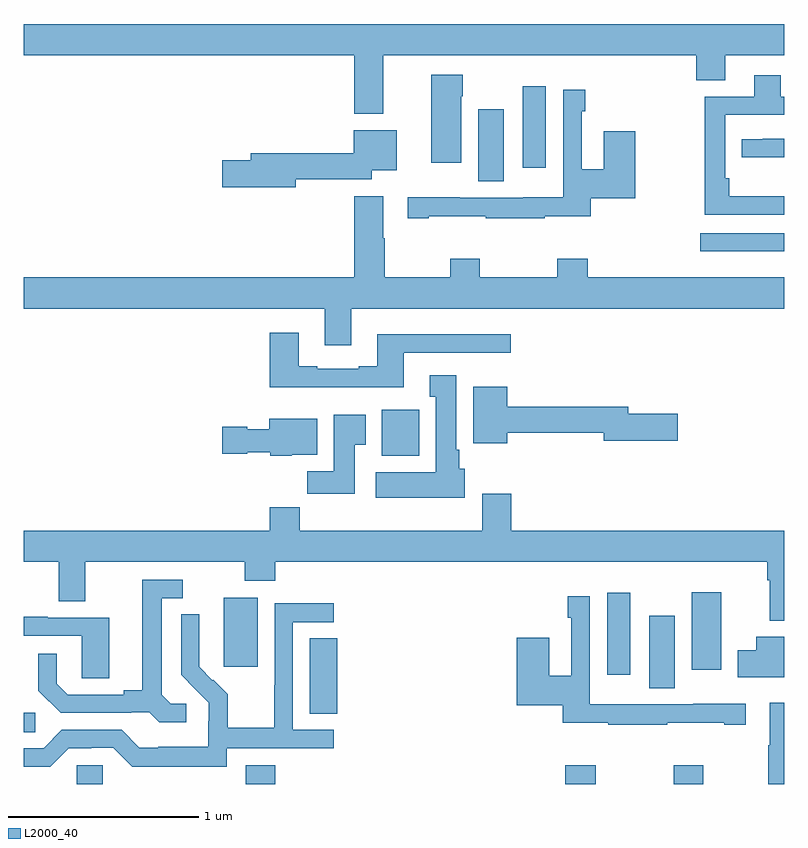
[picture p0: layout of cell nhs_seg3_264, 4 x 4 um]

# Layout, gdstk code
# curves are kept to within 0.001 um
import gdstk
lib = gdstk.Library(unit=1e-6, precision=1e-09)
def R(c, l, rs):  # rectangles x0, y0, x1, y1
    for r in rs: c.add(gdstk.rectangle(r[:2], r[2:], *l))
def P(c, l, *ps):  # polygons
    for p in ps: c.add(gdstk.Polygon(p, *l))
L2000_40 = (2000, 40)

nhs_seg3_264 = lib.new_cell('nhs_seg3_264')
R(nhs_seg3_264, L2000_40, [(123.279,714.4,123.417,714.498), (124.169,714.4,124.322,714.499), (125.849,714.4,126.009,714.499), (126.418,714.4,126.573,714.499), (123,714.673,123.061,714.774), (124.505,714.769,124.649,715.166), (126.29,714.904,126.424,715.285), (126.068,714.975,126.19,715.405), (126.512,715.002,126.667,715.408), (124.052,715.017,124.231,715.378), (124.883,716.126,125.08,716.368), (126.558,717.2,127,717.297), (125.39,717.568,125.524,717.949), (125.624,717.639,125.746,718.069)])
P(nhs_seg3_264, L2000_40, [(124.891,718.232),(126.536,718.232),(126.536,718.099),(126.688,718.099),(126.688,718.232),(127,718.232),(127,718.396),(123,718.396),(123,718.232),(124.739,718.232),(124.739,717.923),(124.891,717.923)],
  [(125.302,718.016),(125.31,718.016),(125.31,718.129),(125.144,718.129),(125.144,717.666),(125.302,717.666)],
  [(127,717.491),(126.71,717.491),(126.71,717.586),(126.69,717.586),(126.69,717.918),(127,717.918),(127,718.014),(126.982,718.014),(126.982,718.126),(126.842,718.126),(126.842,718.014),(126.582,718.014),(126.582,717.393),(127,717.393)],
  [(125.131,717.385),(125.431,717.385),(125.431,717.375),(125.741,717.375),(125.741,717.385),(125.981,717.385),(125.981,717.479),(126.216,717.479),(126.216,717.832),(126.05,717.832),(126.05,717.632),(125.934,717.632),(125.934,717.938),(125.954,717.938),(125.954,718.051),(125.838,718.051),(125.838,717.484),(125.628,717.484),(125.628,717.483),(125.294,717.483),(125.294,717.485),(125.019,717.485),(125.019,717.375),(125.131,717.375)],
  [(124.432,717.58),(124.83,717.58),(124.83,717.626),(124.963,717.626),(124.963,717.838),(124.736,717.838),(124.736,717.716),(124.193,717.716),(124.193,717.68),(124.044,717.68),(124.044,717.538),(124.432,717.538)],
  [(127,717.792),(126.886,717.792),(126.886,717.791),(126.775,717.791),(126.775,717.695),(127,717.695)],
  [(124.723,716.9),(127,716.9),(127,717.064),(125.966,717.064),(125.966,717.163),(125.806,717.163),(125.806,717.064),(125.397,717.064),(125.397,717.163),(125.242,717.163),(125.242,717.064),(124.899,717.064),(124.899,717.269),(124.891,717.269),(124.891,717.49),(124.739,717.49),(124.739,717.064),(123,717.064),(123,716.9),(124.583,716.9),(124.583,716.706),(124.723,716.706)],
  [(124.999,716.667),(125.56,716.667),(125.56,716.764),(124.859,716.764),(124.859,716.596),(124.763,716.596),(124.763,716.583),(124.543,716.583),(124.543,716.596),(124.447,716.596),(124.447,716.773),(124.295,716.773),(124.295,716.486),(124.999,716.486)],
  [(125.32,716.058),(125.29,716.058),(125.29,716.158),(125.275,716.158),(125.275,716.548),(125.135,716.548),(125.135,716.435),(125.168,716.435),(125.168,716.038),(124.851,716.038),(124.851,715.904),(125.32,715.904)],
  [(125.542,716.248),(126.05,716.248),(126.05,716.206),(126.439,716.206),(126.439,716.348),(126.178,716.348),(126.178,716.384),(125.542,716.384),(125.542,716.488),(125.363,716.488),(125.363,716.192),(125.542,716.192)],
  [(124.741,716.185),(124.798,716.185),(124.798,716.341),(124.631,716.341),(124.631,716.044),(124.492,716.044),(124.492,715.926),(124.741,715.926)],
  [(124.41,716.132),(124.543,716.132),(124.543,716.32),(124.292,716.32),(124.292,716.266),(124.176,716.266),(124.176,716.279),(124.044,716.279),(124.044,716.137),(124.176,716.137),(124.176,716.144),(124.296,716.144),(124.296,716.126),(124.41,716.126)],
  [(127,715.732),(125.564,715.732),(125.564,715.927),(125.411,715.927),(125.411,715.732),(124.451,715.732),(124.451,715.856),(124.295,715.856),(124.295,715.732),(123,715.732),(123,715.568),(123.185,715.568),(123.185,715.36),(123.325,715.36),(123.325,715.568),(124.162,715.568),(124.162,715.469),(124.322,715.469),(124.322,715.568),(126.911,715.568),(126.911,715.472),(126.923,715.472),(126.923,715.259),(127,715.259)],
  [(123.856,714.822),(123.774,714.822),(123.727,714.869),(123.727,715.377),(123.838,715.377),(123.838,715.473),(123.623,715.473),(123.623,714.893),(123.527,714.893),(123.527,714.87),(123.232,714.87),(123.175,714.927),(123.175,715.084),(123.078,715.084),(123.078,714.89),(123.194,714.774),(123.566,714.774),(123.566,714.777),(123.66,714.777),(123.712,714.725),(123.856,714.725)],
  [(126.383,714.721),(126.683,714.721),(126.683,714.711),(126.796,714.711),(126.796,714.821),(126.52,714.821),(126.52,714.819),(126.186,714.819),(126.186,714.82),(125.976,714.82),(125.976,715.387),(125.86,715.387),(125.86,715.274),(125.88,715.274),(125.88,714.968),(125.764,714.968),(125.764,715.168),(125.594,715.168),(125.594,714.815),(125.834,714.815),(125.834,714.721),(126.073,714.721),(126.073,714.711),(126.383,714.711)],
  [(124.068,714.588),(124.63,714.588),(124.63,714.684),(124.416,714.684),(124.416,715.251),(124.63,715.251),(124.63,715.35),(124.32,715.35),(124.32,714.92),(124.318,714.92),(124.318,714.697),(124.073,714.697),(124.073,714.871),(123.996,714.948),(123.993,714.945),(123.923,715.016),(123.924,715.292),(123.828,715.292),(123.828,714.974),(123.974,714.826),(123.974,714.729),(123.972,714.729),(123.972,714.595),(123.709,714.595),(123.709,714.591),(123.609,714.591),(123.516,714.684),(123.201,714.684),(123.105,714.588),(123,714.588),(123,714.492),(123.141,714.492),(123.237,714.588),(123.356,714.588),(123.356,714.591),(123.471,714.591),(123.571,714.491),(124.068,714.491)],
  [(123.451,715.275),(123.127,715.275),(123.127,715.279),(123,715.279),(123,715.179),(123.306,715.179),(123.306,714.955),(123.451,714.955)],
  [(127,715.174),(126.851,715.174),(126.851,715.104),(126.755,715.104),(126.755,714.962),(127,714.962)],
  [(127,714.826),(126.923,714.826),(126.923,714.605),(126.916,714.605),(126.916,714.4),(127,714.4)])

lib.write_gds('nhs_seg3_264.gds')
